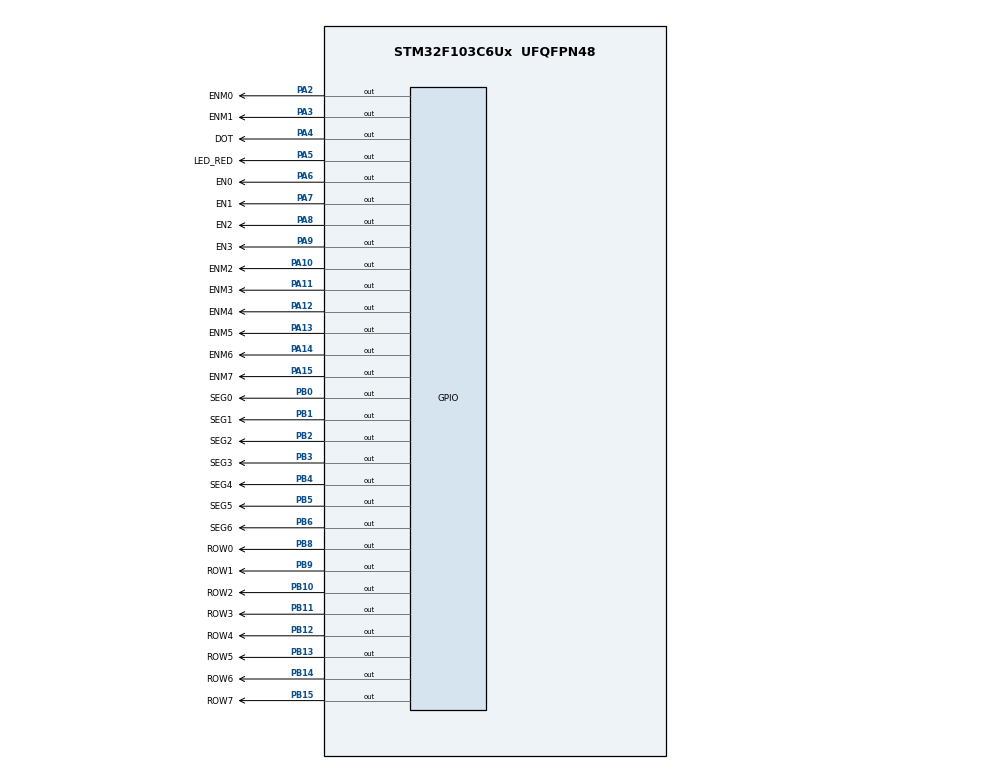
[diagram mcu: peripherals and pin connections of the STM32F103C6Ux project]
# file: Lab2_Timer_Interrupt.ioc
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Mcu.Family=STM32F1
Mcu.Name=STM32F103C6Ux
Mcu.Package=UFQFPN48
NVIC.PriorityGroup=NVIC_PRIORITYGROUP_4
NVIC.TIM2_IRQn=true\:0\:0\:false\:false\:true\:true\:true
PA10.GPIO_Label=ENM2
PA10.Signal=GPIO_Output
PA11.GPIO_Label=ENM3
PA11.Signal=GPIO_Output
PA12.GPIO_Label=ENM4
PA12.Signal=GPIO_Output
PA13.GPIO_Label=ENM5
PA13.Signal=GPIO_Output
PA14.GPIO_Label=ENM6
PA14.Signal=GPIO_Output
PA15.GPIO_Label=ENM7
PA15.Signal=GPIO_Output
PA2.GPIO_Label=ENM0
PA2.Signal=GPIO_Output
PA3.GPIO_Label=ENM1
PA3.Signal=GPIO_Output
PA4.GPIO_Label=DOT
PA4.Signal=GPIO_Output
PA5.GPIO_Label=LED_RED
PA5.Signal=GPIO_Output
PA6.GPIO_Label=EN0
PA6.Signal=GPIO_Output
PA7.GPIO_Label=EN1
PA7.Signal=GPIO_Output
PA8.GPIO_Label=EN2
PA8.Signal=GPIO_Output
PA9.GPIO_Label=EN3
PA9.Signal=GPIO_Output
PB0.GPIO_Label=SEG0
PB0.Signal=GPIO_Output
PB1.GPIO_Label=SEG1
PB1.Signal=GPIO_Output
PB10.GPIO_Label=ROW2
PB10.Signal=GPIO_Output
PB11.GPIO_Label=ROW3
PB11.Signal=GPIO_Output
PB12.GPIO_Label=ROW4
PB12.Signal=GPIO_Output
PB13.GPIO_Label=ROW5
PB13.Signal=GPIO_Output
PB14.GPIO_Label=ROW6
PB14.Signal=GPIO_Output
PB15.GPIO_Label=ROW7
PB15.Signal=GPIO_Output
PB2.GPIO_Label=SEG2
PB2.Signal=GPIO_Output
PB3.GPIO_Label=SEG3
PB3.Signal=GPIO_Output
PB4.GPIO_Label=SEG4
PB4.Signal=GPIO_Output
PB5.GPIO_Label=SEG5
PB5.Signal=GPIO_Output
PB6.GPIO_Label=SEG6
PB6.Signal=GPIO_Output
PB8.GPIO_Label=ROW0
PB8.Signal=GPIO_Output
PB9.GPIO_Label=ROW1
PB9.Signal=GPIO_Output
ProjectManager.HeapSize=0x200
ProjectManager.StackSize=0x400
ProjectManager.TargetToolchain=STM32CubeIDE
RCC.APB1Freq_Value=8000000
RCC.APB2Freq_Value=8000000
TIM2.Period=9
TIM2.Prescaler=7999
VP_SYS_VS_ND.Mode=No_Debug
VP_TIM2_VS_ClockSourceINT.Mode=Internal
board=custom

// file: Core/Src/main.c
/* USER CODE BEGIN Header */
/**
  ******************************************************************************
  * @file           : main.c
  * @brief          : Main program body
  ******************************************************************************
  * @attention
  *
  * <h2><center>&copy; Copyright (c) 2026 STMicroelectronics.
  * All rights reserved.</center></h2>
  *
  * This software component is licensed by ST under BSD 3-Clause license,
  * the "License"; You may not use this file except in compliance with the
  * License. You may obtain a copy of the License at:
  *                        opensource.org/licenses/BSD-3-Clause
  *
  ******************************************************************************
  */
/* USER CODE END Header */
#include "main.h"

TIM_HandleTypeDef htim2;

void SystemClock_Config(void);
static void MX_TIM2_Init(void);
static void MX_GPIO_Init(void);

/* USER CODE BEGIN 0 */

/* ===== [BIẾN EX 1] ===== */
// int timer_counter = 50;
// int led_status = 0;

/* ===== [BIẾN EX 2] ===== */
// int timer_counter_7seg = 50;
// int timer_counter_dot = 100;
// int led_status_ex2 = 0;

/* ===== [BIẾN & HÀM EX 3 + EX 4] Quét LED bằng Buffer ===== */
const int MAX_LED = 4;
int index_led = 0;
int led_buffer[4] = {1, 2, 3, 0};

void display7SEG(int num) {
    uint8_t seg7[10] = {0xC0, 0xF9, 0xA4, 0xB0, 0x99, 0x92, 0x82, 0xF8, 0x80, 0x90};
    HAL_GPIO_WritePin(GPIOB, SEG0_Pin, (seg7[num] >> 0) & 1);
    HAL_GPIO_WritePin(GPIOB, SEG1_Pin, (seg7[num] >> 1) & 1);
    HAL_GPIO_WritePin(GPIOB, SEG2_Pin, (seg7[num] >> 2) & 1);
    HAL_GPIO_WritePin(GPIOB, SEG3_Pin, (seg7[num] >> 3) & 1);
    HAL_GPIO_WritePin(GPIOB, SEG4_Pin, (seg7[num] >> 4) & 1);
    HAL_GPIO_WritePin(GPIOB, SEG5_Pin, (seg7[num] >> 5) & 1);
    HAL_GPIO_WritePin(GPIOB, SEG6_Pin, (seg7[num] >> 6) & 1);
}

void update7SEG(int index) {
    HAL_GPIO_WritePin(GPIOA, EN0_Pin|EN1_Pin|EN2_Pin|EN3_Pin, GPIO_PIN_SET);

    switch (index) {
        case 0:
            display7SEG(led_buffer[0]);
            HAL_GPIO_WritePin(GPIOA, EN0_Pin, GPIO_PIN_RESET);
            break;
        case 1:
            display7SEG(led_buffer[1]);
            HAL_GPIO_WritePin(GPIOA, EN1_Pin, GPIO_PIN_RESET);
            break;
        case 2:
            display7SEG(led_buffer[2]);
            HAL_GPIO_WritePin(GPIOA, EN2_Pin, GPIO_PIN_RESET);
            break;
        case 3:
            display7SEG(led_buffer[3]);
            HAL_GPIO_WritePin(GPIOA, EN3_Pin, GPIO_PIN_RESET);
            break;
        default:
            break;
    }
}

/* ===== [BIẾN & HÀM EX 5] Đồng hồ số ===== */
int hour = 15, minute = 8, second = 50;

void updateClockBuffer() {
    led_buffer[0] = hour / 10;
    led_buffer[1] = hour % 10;
    led_buffer[2] = minute / 10;
    led_buffer[3] = minute % 10;
}

/* ===== [BIẾN & HÀM EX 9 + EX 10] Quét LED Ma trận ===== */
const int MAX_LED_MATRIX = 8;
int index_led_matrix = 0;
uint8_t matrix_buffer[8] = {0x18, 0x24, 0x42, 0x42, 0x7E, 0x42, 0x42, 0x00}; // Chữ "A"

void updateLEDMatrix(int index) {
    // Tắt toàn bộ 8 cột trước khi xuất dữ liệu mới
    HAL_GPIO_WritePin(GPIOA, ENM0_Pin|ENM1_Pin|ENM2_Pin|ENM3_Pin|
                             ENM4_Pin|ENM5_Pin|ENM6_Pin|ENM7_Pin, GPIO_PIN_RESET);

    // Đẩy dữ liệu hàng (ROW) ra Port B
    uint8_t row_data = matrix_buffer[index];
    HAL_GPIO_WritePin(GPIOB, ROW0_Pin, (row_data >> 0) & 1);
    HAL_GPIO_WritePin(GPIOB, ROW1_Pin, (row_data >> 1) & 1);
    HAL_GPIO_WritePin(GPIOB, ROW2_Pin, (row_data >> 2) & 1);
    HAL_GPIO_WritePin(GPIOB, ROW3_Pin, (row_data >> 3) & 1);
    HAL_GPIO_WritePin(GPIOB, ROW4_Pin, (row_data >> 4) & 1);
    HAL_GPIO_WritePin(GPIOB, ROW5_Pin, (row_data >> 5) & 1);
    HAL_GPIO_WritePin(GPIOB, ROW6_Pin, (row_data >> 6) & 1);
    HAL_GPIO_WritePin(GPIOB, ROW7_Pin, (row_data >> 7) & 1);

    // Bật cột (COL) tương ứng trên Port A
    switch (index) {
        case 0: HAL_GPIO_WritePin(GPIOA, ENM0_Pin, GPIO_PIN_SET); break;
        case 1: HAL_GPIO_WritePin(GPIOA, ENM1_Pin, GPIO_PIN_SET); break;
        case 2: HAL_GPIO_WritePin(GPIOA, ENM2_Pin, GPIO_PIN_SET); break;
        case 3: HAL_GPIO_WritePin(GPIOA, ENM3_Pin, GPIO_PIN_SET); break;
        case 4: HAL_GPIO_WritePin(GPIOA, ENM4_Pin, GPIO_PIN_SET); break;
        case 5: HAL_GPIO_WritePin(GPIOA, ENM5_Pin, GPIO_PIN_SET); break;
        case 6: HAL_GPIO_WritePin(GPIOA, ENM6_Pin, GPIO_PIN_SET); break;
        case 7: HAL_GPIO_WritePin(GPIOA, ENM7_Pin, GPIO_PIN_SET); break;
        default: break;
    }
}

/* ===== [QUẢN LÝ SOFTWARE TIMER] Đa nhiệm (Ex 6 - Ex 10) ===== */
int TIMER_CYCLE = 10; // Chu kỳ ngắt timer 2 là 10ms

// Timer 0: Đồng hồ và chớp DOT (1s)
int timer0_counter = 0;
int timer0_flag = 0;
void setTimer0(int duration) {
    timer0_counter = duration / TIMER_CYCLE;
    timer0_flag = 0;
}

// Timer 1: Quét LED 7 đoạn (250ms)
int timer1_counter = 0;
int timer1_flag = 0;
void setTimer1(int duration) {
    timer1_counter = duration / TIMER_CYCLE;
    timer1_flag = 0;
}

// Timer 2: Quét LED Matrix (10ms)
int timer2_counter = 0;
int timer2_flag = 0;
void setTimer2(int duration) {
    timer2_counter = duration / TIMER_CYCLE;
    timer2_flag = 0;
}

// Timer 3: Hiệu ứng dịch chữ Matrix (500ms)
int timer3_counter = 0;
int timer3_flag = 0;
void setTimer3(int duration) {
    timer3_counter = duration / TIMER_CYCLE;
    timer3_flag = 0;
}

void timer_run() {
    if (timer0_counter > 0) {
        timer0_counter--;
        if (timer0_counter == 0) timer0_flag = 1;
    }
    if (timer1_counter > 0) {
        timer1_counter--;
        if (timer1_counter == 0) timer1_flag = 1;
    }
    if (timer2_counter > 0) {
        timer2_counter--;
        if (timer2_counter == 0) timer2_flag = 1;
    }
    if (timer3_counter > 0) {
        timer3_counter--;
        if (timer3_counter == 0) timer3_flag = 1;
    }
}
/* USER CODE END 0 */

int main(void)
{

  /* MCU Configuration--------------------------------------------------------*/

  /* Reset of all peripherals, Initializes the Flash interface and the Systick. */
  HAL_Init();

  /* Configure the system clock */
  SystemClock_Config();

  /* Initialize all configured peripherals */
  MX_TIM2_Init();
  MX_GPIO_Init();
  /* USER CODE BEGIN 2 */
    HAL_TIM_Base_Start_IT(&htim2);

    // Khởi tạo các Software Timer
    setTimer0(1000); // Đếm 1000ms cho đồng hồ
    setTimer1(250);  // Đếm 250ms cho việc quét LED 7 đoạn
    setTimer2(10);   // Đếm 10ms để quét Ma trận LED (Ex 9)
    setTimer3(500);  // Đếm 500ms tạo Animation dịch chữ (Ex 10)
  /* USER CODE END 2 */

  /* Infinite loop */
  while (1)
  {

    /* USER CODE BEGIN 3 */

      /* ===== [CODE CŨ] Đồng hồ và 7-Đoạn (Đã comment cho mạch LED Matrix) ===== */

//       TASK 1: Xử lý đồng hồ và chớp LED DOT (Mỗi 1 giây)
//       if (timer0_flag == 1) {
//           HAL_GPIO_TogglePin(GPIOA, DOT_Pin);
//           second++;
//           if (second >= 60){ second = 0; minute++; }
//           if (minute >= 60) { minute = 0; hour++; }
//           if (hour >= 24) { hour = 0; }
//           updateClockBuffer();
//           setTimer0(1000);
//       }
//
//       TASK 2: Xử lý quét LED 7 đoạn (Mỗi 250ms)
//       if (timer1_flag == 1) {
//           update7SEG(index_led++);
//           if (index_led >= MAX_LED) { index_led = 0; }
//           setTimer1(250);
//       }

      /* =========================================================
       * [CODE EX 9 & EX 10] ĐIỀU KHIỂN MA TRẬN LED
       * ========================================================= */

      // TASK 3: Quét Ma Trận LED liên tục để hiển thị (EX 9)
      if (timer2_flag == 1) {
          updateLEDMatrix(index_led_matrix++);
          if (index_led_matrix >= MAX_LED_MATRIX) {
              index_led_matrix = 0;
          }
          setTimer2(10); // Cài đặt chu kỳ quét 10ms
      }

      // TASK 4: Hiệu ứng dịch chữ sang trái (EX 10)
      if (timer3_flag == 1) {
          // Lưu lại phần tử đầu tiên của mảng
          uint8_t temp = matrix_buffer[0];

          // Dịch toàn bộ các phần tử sang trái 1 cột
          for (int i = 0; i < 7; i++) {
              matrix_buffer[i] = matrix_buffer[i + 1];
          }

          // Đẩy phần tử đầu tiên xuống cuối cùng để lặp liên tục
          matrix_buffer[7] = temp;

          setTimer3(500); // Chu kỳ dịch chữ 500ms
      }

  }
  /* USER CODE END 3 */
}

void SystemClock_Config(void)
{
  RCC_OscInitTypeDef RCC_OscInitStruct = {0};
  RCC_ClkInitTypeDef RCC_ClkInitStruct = {0};

  /** Initializes the RCC Oscillators according to the specified parameters
  * in the RCC_OscInitTypeDef structure.
  */
  RCC_OscInitStruct.OscillatorType = RCC_OSCILLATORTYPE_HSI;
  RCC_OscInitStruct.HSIState = RCC_HSI_ON;
  RCC_OscInitStruct.HSICalibrationValue = RCC_HSICALIBRATION_DEFAULT;
  RCC_OscInitStruct.PLL.PLLState = RCC_PLL_NONE;
  if (HAL_RCC_OscConfig(&RCC_OscInitStruct) != HAL_OK)
  {
    Error_Handler();
  }
  /** Initializes the CPU, AHB and APB buses clocks
  */
  RCC_ClkInitStruct.ClockType = RCC_CLOCKTYPE_HCLK|RCC_CLOCKTYPE_SYSCLK
                              |RCC_CLOCKTYPE_PCLK1|RCC_CLOCKTYPE_PCLK2;
  RCC_ClkInitStruct.SYSCLKSource = RCC_SYSCLKSOURCE_HSI;
  RCC_ClkInitStruct.AHBCLKDivider = RCC_SYSCLK_DIV1;
  RCC_ClkInitStruct.APB1CLKDivider = RCC_HCLK_DIV1;
  RCC_ClkInitStruct.APB2CLKDivider = RCC_HCLK_DIV1;

  if (HAL_RCC_ClockConfig(&RCC_ClkInitStruct, FLASH_LATENCY_0) != HAL_OK)
  {
    Error_Handler();
  }
}

static void MX_TIM2_Init(void)
{

  TIM_ClockConfigTypeDef sClockSourceConfig = {0};
  TIM_MasterConfigTypeDef sMasterConfig = {0};

  htim2.Instance = TIM2;
  htim2.Init.Prescaler = 7999;
  htim2.Init.CounterMode = TIM_COUNTERMODE_UP;
  htim2.Init.Period = 9;
  htim2.Init.ClockDivision = TIM_CLOCKDIVISION_DIV1;
  htim2.Init.AutoReloadPreload = TIM_AUTORELOAD_PRELOAD_DISABLE;
  if (HAL_TIM_Base_Init(&htim2) != HAL_OK)
  {
    Error_Handler();
  }
  sClockSourceConfig.ClockSource = TIM_CLOCKSOURCE_INTERNAL;
  if (HAL_TIM_ConfigClockSource(&htim2, &sClockSourceConfig) != HAL_OK)
  {
    Error_Handler();
  }
  sMasterConfig.MasterOutputTrigger = TIM_TRGO_RESET;
  sMasterConfig.MasterSlaveMode = TIM_MASTERSLAVEMODE_DISABLE;
  if (HAL_TIMEx_MasterConfigSynchronization(&htim2, &sMasterConfig) != HAL_OK)
  {
    Error_Handler();
  }

}

static void MX_GPIO_Init(void)
{
  GPIO_InitTypeDef GPIO_InitStruct = {0};

  /* GPIO Ports Clock Enable */
  __HAL_RCC_GPIOA_CLK_ENABLE();
  __HAL_RCC_GPIOB_CLK_ENABLE();

  /*Configure GPIO pin Output Level */
  HAL_GPIO_WritePin(GPIOA, ENM0_Pin|ENM1_Pin|DOT_Pin|LED_RED_Pin
                          |EN0_Pin|EN1_Pin|EN2_Pin|EN3_Pin
                          |ENM2_Pin|ENM3_Pin|ENM4_Pin|ENM5_Pin
                          |ENM6_Pin|ENM7_Pin, GPIO_PIN_RESET);

  /*Configure GPIO pin Output Level */
  HAL_GPIO_WritePin(GPIOB, SEG0_Pin|SEG1_Pin|SEG2_Pin|ROW2_Pin
                          |ROW3_Pin|ROW4_Pin|ROW5_Pin|ROW6_Pin
                          |ROW7_Pin|SEG3_Pin|SEG4_Pin|SEG5_Pin
                          |SEG6_Pin|ROW0_Pin|ROW1_Pin, GPIO_PIN_RESET);

  /*Configure GPIO pins : ENM0_Pin ENM1_Pin DOT_Pin LED_RED_Pin
                           EN0_Pin EN1_Pin EN2_Pin EN3_Pin
                           ENM2_Pin ENM3_Pin ENM4_Pin ENM5_Pin
                           ENM6_Pin ENM7_Pin */
  GPIO_InitStruct.Pin = ENM0_Pin|ENM1_Pin|DOT_Pin|LED_RED_Pin
                          |EN0_Pin|EN1_Pin|EN2_Pin|EN3_Pin
                          |ENM2_Pin|ENM3_Pin|ENM4_Pin|ENM5_Pin
                          |ENM6_Pin|ENM7_Pin;
  GPIO_InitStruct.Mode = GPIO_MODE_OUTPUT_PP;
  GPIO_InitStruct.Pull = GPIO_NOPULL;
  GPIO_InitStruct.Speed = GPIO_SPEED_FREQ_LOW;
  HAL_GPIO_Init(GPIOA, &GPIO_InitStruct);

  /*Configure GPIO pins : SEG0_Pin SEG1_Pin SEG2_Pin ROW2_Pin
                           ROW3_Pin ROW4_Pin ROW5_Pin ROW6_Pin
                           ROW7_Pin SEG3_Pin SEG4_Pin SEG5_Pin
                           SEG6_Pin ROW0_Pin ROW1_Pin */
  GPIO_InitStruct.Pin = SEG0_Pin|SEG1_Pin|SEG2_Pin|ROW2_Pin
                          |ROW3_Pin|ROW4_Pin|ROW5_Pin|ROW6_Pin
                          |ROW7_Pin|SEG3_Pin|SEG4_Pin|SEG5_Pin
                          |SEG6_Pin|ROW0_Pin|ROW1_Pin;
  GPIO_InitStruct.Mode = GPIO_MODE_OUTPUT_PP;
  GPIO_InitStruct.Pull = GPIO_NOPULL;
  GPIO_InitStruct.Speed = GPIO_SPEED_FREQ_LOW;
  HAL_GPIO_Init(GPIOB, &GPIO_InitStruct);

}

/* USER CODE BEGIN 4 */
void HAL_TIM_PeriodElapsedCallback(TIM_HandleTypeDef *htim)
{
    if(htim->Instance == TIM2) {

        // HÀM NGẮT Ở EX 8-10 ĐƯỢC TỐI GIẢN
        // Gọi hàm cập nhật các Timer đếm ngược.
        timer_run();

        /* ===== [CODE NGẮT CÁC BÀI CŨ TỪ EX 1 - EX 4] ===== */

        /* [EX 1 & 2] Dùng if-else dài dòng trong ngắt */
        // timer_counter_7seg--;
        // if(timer_counter_7seg <= 0) {
        //     timer_counter_7seg = 50;
        //     HAL_GPIO_WritePin(GPIOA, EN0_Pin|EN1_Pin|EN2_Pin|EN3_Pin, GPIO_PIN_SET);
        //     if(led_status_ex2 == 0) {
        //         display7SEG(1);
        //         HAL_GPIO_WritePin(GPIOA, EN0_Pin, GPIO_PIN_RESET);
        //         led_status_ex2 = 1;
        //     }
        //     // ... (các case khác) ...
        // }

        /* [EX 3 & 4 & 7] Dùng hàm quét mảng Buffer trong ngắt */
        // timer_counter_7seg--;
        // if(timer_counter_7seg <= 0) {
        //     timer_counter_7seg = 25; // 250ms
        //     update7SEG(index_led++);
        //     if (index_led >= MAX_LED) {
        //         index_led = 0;
        //     }
        // }

    }
}
/* USER CODE END 4 */

void Error_Handler(void)
{
  __disable_irq();
  while (1)
  {
  }
}

/************************ (C) COPYRIGHT STMicroelectronics *****END OF FILE****/
